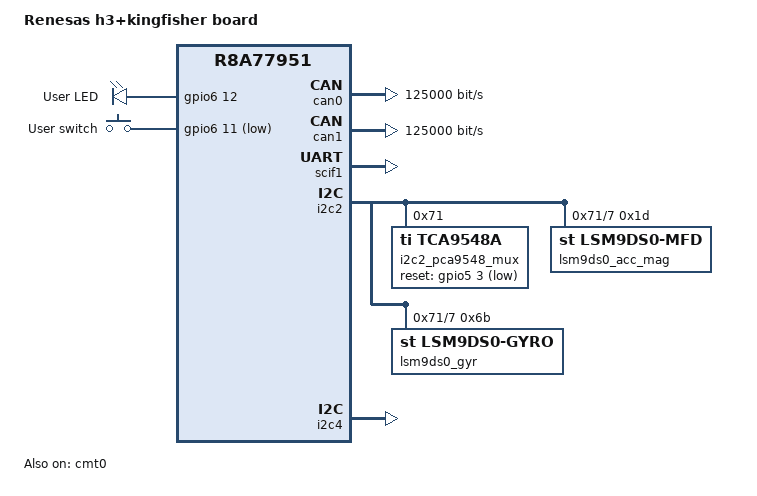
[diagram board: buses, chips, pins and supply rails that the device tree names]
/*
 * Copyright (c) 2022 IoT.bzh
 *
 * SPDX-License-Identifier: Apache-2.0
 *
 */

/dts-v1/;
#include <arm/renesas/gen3/r8a77951.dtsi>
#include "rcar_h3_kingfisher_cr7-pinctrl.dtsi"

/ {
	model = "Renesas h3+kingfisher board";
	compatible = "renesas,h3-kingfisher-cr7";

	chosen {
		zephyr,sram = &sram0;
		zephyr,console = &scif1;
		zephyr,shell-uart = &scif1;
		zephyr,canbus = &can0;
	};

	leds {
		compatible = "gpio-leds";
		user_led: led_5 {
			gpios = <&gpio6 12 GPIO_ACTIVE_HIGH>;
			label = "User LED";
		};
	};

	gpio_keys {
		compatible = "gpio-keys";
		user_button: sw3 {
			gpios = <&gpio6 11 GPIO_ACTIVE_LOW>;
			label = "User switch";
		};
	};

	aliases {
		led0 = &user_led;
		sw0 = &user_button;
	};
};

&cmt0 {
	status = "okay";
	clock-frequency = <32000>;
};

&gpio5 {
	status = "okay";
};

&gpio6 {
	status = "okay";
};

&can0 {
	pinctrl-0 = <&can0_data_a_tx_default &can0_data_a_rx_default>;
	pinctrl-names = "default";
	status = "okay";
	bus-speed = <125000>;

	can-transceiver {
		max-bitrate = <5000000>;
	};
};

&can1 {
	pinctrl-0 = <&can1_data_a_tx_default &can1_data_a_rx_default>;
	pinctrl-names = "default";
	status = "okay";
	bus-speed = <125000>;

	can-transceiver {
		max-bitrate = <5000000>;
	};
};

&scif1 {
	pinctrl-0 = <&scif1_data_a_tx_default &scif1_data_a_rx_default>;
	pinctrl-names = "default";
	status = "okay";
};

&i2c2 {
	status = "okay";
	mux: pca9548@71 {
		compatible = "ti,tca9548a";
		reg = <0x71>;
		#address-cells = <1>;
		#size-cells = <0>;
		reset-gpios = <&gpio5 3 GPIO_ACTIVE_LOW>;
		status = "okay";
		label = "i2c2_pca9548_mux";

		mux_i2c@7 {
			compatible = "ti,tca9548a-channel";
			reg = <7>;
			#address-cells = <1>;
			#size-cells = <0>;
			status = "okay";
			label = "Audio";

			acc_mag: lsm9ds0_acc_mag@1d {
				compatible = "st,lsm9ds0-mfd";
				reg = <0x1d>;
				label = "lsm9ds0_acc_mag";
			};

			gyro: lsm9ds0_gyr@6b {
				compatible = "st,lsm9ds0-gyro";
				reg = <0x6b>;
				label = "lsm9ds0_gyr";
			};
		};
	};
};

&i2c4 {
	status = "okay";
};
